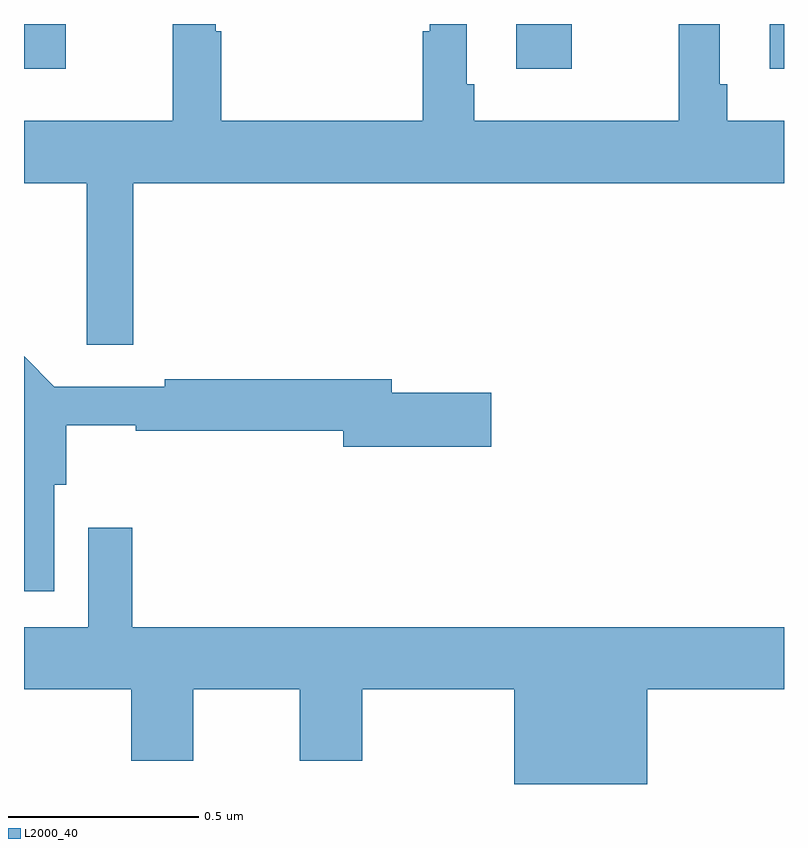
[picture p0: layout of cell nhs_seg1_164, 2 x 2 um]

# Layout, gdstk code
import gdstk
lib = gdstk.Library(unit=1e-6, precision=1e-09)
def R(c, l, rs):  # rectangles x0, y0, x1, y1
    for r in rs: c.add(gdstk.rectangle(r[:2], r[2:], *l))
def P(c, l, *ps):  # polygons
    for p in ps: c.add(gdstk.Polygon(p, *l))
L2000_40 = (2000, 40)

nhs_seg1_164 = lib.new_cell('nhs_seg1_164')
R(nhs_seg1_164, L2000_40, [(113,504.081,113.11,504.199), (114.296,504.081,114.442,504.199), (114.962,504.081,115,504.199)])
P(nhs_seg1_164, L2000_40, [(113.288,503.78),(115,503.78),(115,503.944),(114.851,503.944),(114.851,504.04),(114.831,504.04),(114.831,504.199),(114.723,504.199),(114.723,503.944),(114.185,503.944),(114.185,504.04),(114.165,504.04),(114.165,504.199),(114.068,504.199),(114.068,504.18),(114.049,504.18),(114.049,503.944),(113.519,503.944),(113.519,504.18),(113.504,504.18),(113.504,504.199),(113.391,504.199),(113.391,503.944),(113,503.944),(113,503.78),(113.165,503.78),(113.165,503.355),(113.288,503.355)],
  [(113.08,502.986),(113.111,502.986),(113.111,503.143),(113.294,503.143),(113.294,503.128),(113.84,503.128),(113.84,503.086),(114.229,503.086),(114.229,503.228),(113.968,503.228),(113.968,503.264),(113.371,503.264),(113.371,503.244),(113.08,503.244),(113,503.325),(113,502.706),(113.08,502.706)],
  [(114.64,502.448),(115,502.448),(115,502.612),(113.285,502.612),(113.285,502.873),(113.169,502.873),(113.169,502.612),(113,502.612),(113,502.448),(113.282,502.448),(113.282,502.26),(113.446,502.26),(113.446,502.448),(113.726,502.448),(113.726,502.26),(113.89,502.26),(113.89,502.448),(114.29,502.448),(114.29,502.199),(114.64,502.199)])

lib.write_gds('nhs_seg1_164.gds')
